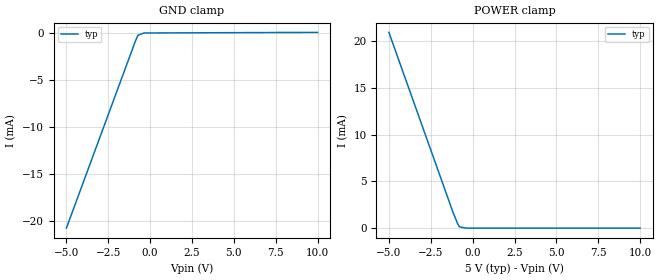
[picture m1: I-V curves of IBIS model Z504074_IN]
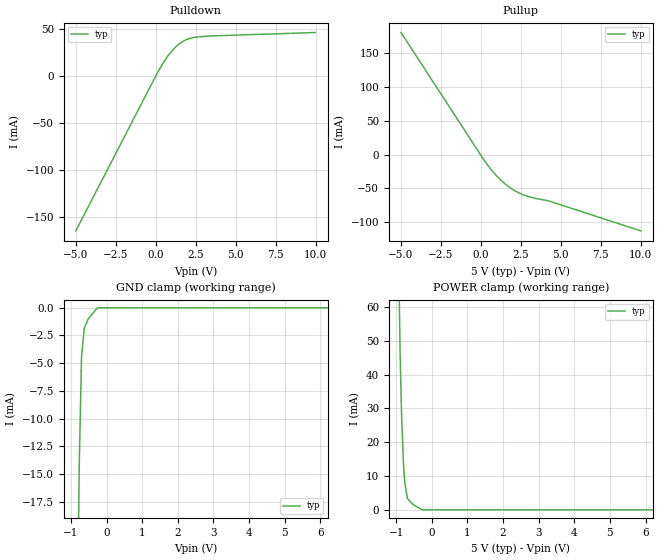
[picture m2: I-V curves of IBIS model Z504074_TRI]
| YOU ARE ONLY AUTHORIZED TO USE THIS SOFTWARE
| ACCORDING TO LICENSOR'S LICENSE RESTRICTIONS.
[IBIS Ver] 3.1
[File Name] mc54hc173j.ibs
[File Rev] 2.0
[Source] Measured and created by ICX Technology
[Date] Friday 7/14/00 9:08:06 AM
[Copyright]
| (C) COPYRIGHT 1993-2000
| MENTOR GRAPHICS CORPORATION
| ICX STANDARD LIBRARY, ICX PROJECT MODELING,
| ICX CUSTOM MODELING, ICX VENDOR MODEL
| ALL RIGHTS RESERVED.
| THE FOLLOWING ARE TRADEMARKS OR SERVICE MARKS OF
| MENTOR GRAPHICS CORPORATION:ICX (R), ICX STANDARD
| LIBRARY(R), ICX PROJECT MODELING(R), ICX CUSTOM
| MODELING(R), qualityIBIS(TM), MODELVIEWER(TM),
| AND MODELEDITOR(TM)
| ALL COPIES OF SOFTWARE, INCLUDING BUT NOT LIMITED TO
| ANY MODIFICATIONS, ENHANCEMENTS OR DERIVATIVE WORKS,
| MUST CONTAIN ALL MENTOR GRAPHICS CORPORATION'S
| NOTICES AND LEGENDS, INCLUDING THOSE EMBEDDED IN
| SOFTWARE AND THOSE AFFIXED TO SOFTWARE MEDIUM
| AND CONTAINER, AS RECEIVED FROM MENTOR GRAPHICS
| CORPORATION.
|  ZAP Model Builder 2.7
[Component] MC54HC173J
[Manufacturer] OnSemiconductor
[Package]
| variable   typ   min   max
R_pkg  .212ohms NA NA
L_pkg  4.758nH NA NA
C_pkg  1.944pF NA NA
[Pin] signal_name  model_name  R_pin  L_pin C_pin
1 M Z504074_IN .224 7.258n 2.683p
2 N Z504074_IN .216 5.258n 2.19p
3 Q0 Z504074_TRI .208 3.758n 1.697p
4 Q1 Z504074_TRI .2 2.758n 1.204p
5 Q2 Z504074_TRI .2 2.758n 1.204p
6 Q3 Z504074_TRI .208 3.758n 1.697p
7 CLK Z504074_IN .216 5.258n 2.19p
8 GROUND GND .224 7.258n 2.683p
9 _G1 Z504074_IN .224 7.258n 2.683p
10 _G2 Z504074_IN .216 5.258n 2.19p
11 D3 Z504074_IN .208 3.758n 1.697p
12 D2 Z504074_IN .2 2.758n 1.204p
13 D1 Z504074_IN .2 2.758n 1.204p
14 D0 Z504074_IN .208 3.758n 1.697p
15 CLR Z504074_IN .216 5.258n 2.19p
16 VCC POWER .224 7.258n 2.683p
| Models and submodels in the file (2): Z504074_IN (Input), Z504074_TRI (3-state)
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| (C) COPYRIGHT 1993-2000
| MENTOR GRAPHICS CORPORATION
| ICX STANDARD LIBRARY, ICX PROJECT MODELING,
| ICX CUSTOM MODELING, ICX VENDOR MODEL
| ALL RIGHTS RESERVED.
| THE FOLLOWING ARE TRADEMARKS OR SERVICE MARKS OF
| MENTOR GRAPHICS CORPORATION:ICX (R), ICX STANDARD
| LIBRARY(R), ICX PROJECT MODELING(R), ICX CUSTOM
| MODELING(R), qualityIBIS(TM), MODELVIEWER(TM),
| AND MODELEDITOR(TM)
| ALL COPIES OF SOFTWARE, INCLUDING BUT NOT LIMITED TO
| ANY MODIFICATIONS, ENHANCEMENTS OR DERIVATIVE WORKS,
| MUST CONTAIN ALL MENTOR GRAPHICS CORPORATION'S
| NOTICES AND LEGENDS, INCLUDING THOSE EMBEDDED IN
| SOFTWARE AND THOSE AFFIXED TO SOFTWARE MEDIUM
| AND CONTAINER, AS RECEIVED FROM MENTOR GRAPHICS
| CORPORATION.
| Model Application Version 1.89 2/18/99.
[Model] Z504074_IN
Model_type Input
Vinl = 1.000V
Vinh = 3.500V
C_comp 4.000pF NA NA
| variable typ   min   max
[Voltage Range] 5.000V NA NA
[GND Clamp Reference] 0.000V NA NA
[POWER Clamp Reference] 5.000V NA NA
[GND Clamp]
-5V       -20.79mA   NA         NA
-878.9mV  -881.9uA   NA         NA
-727.9mV  -268.6uA   NA         NA
-364mV    -25.84uA   NA         NA
10V       39.53uA    NA         NA
[POWER Clamp]
-5V       20.97mA    NA         NA
-1.195V   1.812mA    NA         NA
-906mV    519.9uA    NA         NA
-791mV    140.7uA    NA         NA
-395.5mV  0A         NA         NA
10V       0A         NA         NA
| (C) COPYRIGHT 1993-2000
| MENTOR GRAPHICS CORPORATION
| ICX STANDARD LIBRARY, ICX PROJECT MODELING,
| ICX CUSTOM MODELING, ICX VENDOR MODEL
| ALL RIGHTS RESERVED.
| THE FOLLOWING ARE TRADEMARKS OR SERVICE MARKS OF
| MENTOR GRAPHICS CORPORATION:ICX (R), ICX STANDARD
| LIBRARY(R), ICX PROJECT MODELING(R), ICX CUSTOM
| MODELING(R), qualityIBIS(TM), MODELVIEWER(TM),
| AND MODELEDITOR(TM)
| ALL COPIES OF SOFTWARE, INCLUDING BUT NOT LIMITED TO
| ANY MODIFICATIONS, ENHANCEMENTS OR DERIVATIVE WORKS,
| MUST CONTAIN ALL MENTOR GRAPHICS CORPORATION'S
| NOTICES AND LEGENDS, INCLUDING THOSE EMBEDDED IN
| SOFTWARE AND THOSE AFFIXED TO SOFTWARE MEDIUM
| AND CONTAINER, AS RECEIVED FROM MENTOR GRAPHICS
| CORPORATION.
| Model Application Version 1.89 2/18/99.
[Model] Z504074_TRI
Model_type 3-state
Vref=0.000V
Rref=500.0Mohms
Cref=50.00pF
Vmeas=2.500V
C_comp 8.000pF NA NA
| variable typ   min   max
[Voltage Range] 5.000V NA NA
[POWER Clamp Reference] 5.000V NA NA
[Pullup Reference] 5.000V NA NA
[Pulldown Reference] 0.000V NA NA
[GND Clamp Reference] 0.000V NA NA
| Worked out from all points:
|   slope of the pulldown table from 0 to 0.75 V, typ, clamps not added: 35.3 ohm
|   slope of the pullup table from 0 to 0.75 V, typ, clamps not added: 31.1 ohm
|   GND clamp passes 1 mA (typ) near -0.51 V on its own axis
[GND Clamp]
-5V       -1.128A    NA         NA
-1.001V   -83.1mA    NA         NA
-766.6mV  -14.04mA   NA         NA
-703mV    -4.448mA   NA         NA
-625mV    -1.816mA   NA         NA
-512.7mV  -987uA     NA         NA
-256.4mV  0A         NA         NA
10V       0A         NA         NA
[Pulldown]
-5V       -165.2mA   NA         NA
102.5mV   3.467mA    NA         NA
470.2mV   14.28mA    NA         NA
763mV     21.68mA    NA         NA
1.016V    27.1mA     NA         NA
1.485V    34.65mA    NA         NA
2.041V    39.75mA    NA         NA
2.695V    42.14mA    NA         NA
10V       46.65mA    NA         NA
[Pullup]
-5V       180.8mA    NA         NA
137mV     -5.882mA   NA         NA
655mV     -22.45mA   NA         NA
986mV     -31.48mA   NA         NA
1.533V    -43.61mA   NA         NA
2.143V    -53.61mA   NA         NA
2.91V     -61.51mA   NA         NA
4.298V    -68.77mA   NA         NA
10V       -112.7mA   NA         NA
[POWER Clamp]
-5V       3.617A     NA         NA
-1.025V   138.5mA    NA         NA
-888mV    45.97mA    NA         NA
-850mV    28.91mA    NA         NA
-791mV    12.88mA    NA         NA
-757mV    7.951mA    NA         NA
-684mV    3.353mA    NA         NA
-513mV    1.436mA    NA         NA
-256.5mV  0A         NA         NA
10V       0A         NA         NA
[Ramp]
| variable typ min max
dV/dt_r 2.854/1.666n NA NA
dV/dt_f 2.854/2.325n NA NA
R_load = 500.0Ohms
